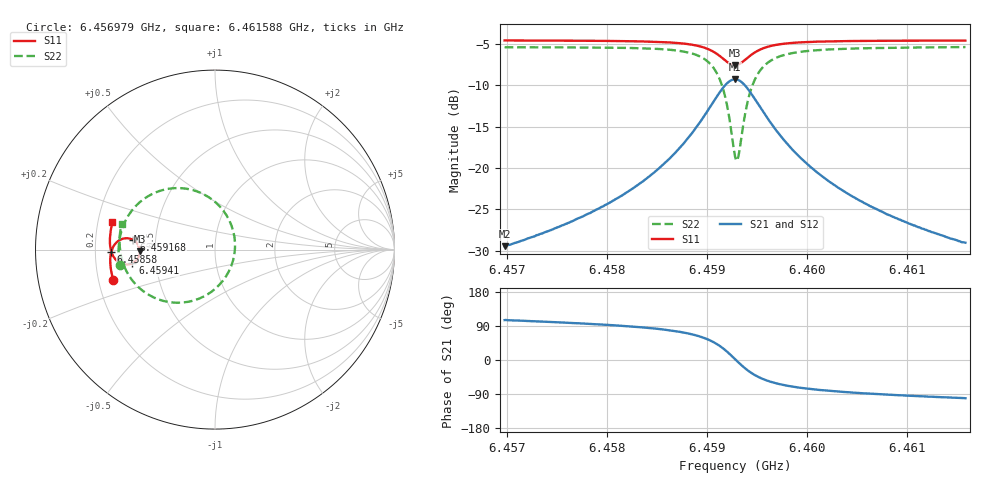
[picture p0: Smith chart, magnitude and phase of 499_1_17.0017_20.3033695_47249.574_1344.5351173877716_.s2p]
#  HZ  S  RI  R  50.00
! Rohde & Schwarz Vector Network Analyzer
! Rohde-Schwarz,ZNB20-2Port,1311601062101988,3.16
! Created: UTC 3/20/2024, 11:14:24 PM
! freq[Hz]  re:S11  im:S11  re:S21  im:S21  re:S12  im:S12  re:S22  im:S22
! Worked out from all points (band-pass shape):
!   401 points, 6.456979 GHz to 6.461588 GHz, reference 50 ohm
!   highest |S21| = -9.25 dB at 6.459283 GHz (marker M1); lowest = -29.5 dB at 6.456979 GHz (marker M2)
!   |S21| within 3 dB of the highest: 6.459053 GHz to 6.459514 GHz (461.5 kHz wide, 0.00714 % of centre)
!   lowest |S11| = -7.6 dB at 6.459283 GHz (marker M3), VSWR 2.44, Z = 20.5 - j0.481 ohm
!   |S11| at or under -10 dB: nowhere
!   |S22| runs from -19.1 to -5.4 dB; largest |S21 - S12| = 0.014
!   S11 on the Smith chart (normalised r, x): 6.456979 GHz: 0.26, -0.14; 6.45858 GHz: 0.27, -0.01; 6.459168 GHz: 0.37, +0.05; 6.45941 GHz: 0.37, -0.07; 6.461588 GHz: 0.26, +0.12
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6.4569786e9  -0.5667 -0.172  -0.00886 0.0324  -0.00725 0.0323  -0.5318 -0.0848
6.4577506e9  -0.5808 -0.1046  -0.00553 0.0503  -0.00309 0.0497  -0.5373 0.00532
6.4581654e9  -0.5837 -0.0631  0.000125 0.0689  0.00324 0.0676  -0.5296 0.0709
6.4585226e9  -0.5799 -0.0207  0.0141 0.0985  0.0181 0.0958  -0.5039 0.1505
6.4585802e9  -0.5781 -0.0127  0.0185 0.1054  0.0225 0.1023  -0.4957 0.167
6.4587877e9  -0.5651 0.0193  0.0459 0.1377  0.0501 0.1327  -0.4443 0.2397
6.4589374e9  -0.5425 0.0456  0.0911 0.1679  0.0943 0.1613  -0.3611 0.3042
6.4590757e9  -0.4988 0.063  0.1779 0.1846  0.1788 0.1772  -0.2023 0.3429
6.4591679e9  -0.4545 0.053  0.2674 0.1536  0.2678 0.1476  -0.0364 0.293
6.459214e9  -0.4334 0.0342  0.311 0.111  0.3124 0.1057  0.0465 0.217
6.4592831e9  -0.4186 -0.00967  0.3443 0.0143  0.348 0.00755  0.1115 0.0377
6.4593062e9  -0.4202 -0.0255  0.3422 -0.0206  0.3462 -0.0291  0.1075 -0.029
6.4593177e9  -0.4224 -0.0332  0.3387 -0.0379  0.3426 -0.047  0.1004 -0.0612
6.4593638e9  -0.4379 -0.0593  0.3104 -0.0976  0.3126 -0.1096  0.0432 -0.1743
6.4594099e9  -0.4598 -0.0755  0.2687 -0.1386  0.2677 -0.152  -0.0415 -0.2494
6.459502e9  -0.5031 -0.0824  0.1839 -0.17  0.1779 -0.1816  -0.2101 -0.296
6.4596518e9  -0.5469 -0.062  0.0962 -0.1564  0.0877 -0.1626  -0.3775 -0.2469
6.4598131e9  -0.5683 -0.0342  0.0513 -0.1285  0.0437 -0.1312  -0.458 -0.1751
6.4600551e9  -0.5811 0.00127  0.0222 -0.0971  0.0164 -0.0977  -0.506 -0.0925
6.4604123e9  -0.5855 0.0436  0.00606 -0.0696  0.00183 -0.0691  -0.5277 -0.0113
6.4608271e9  -0.5836 0.0851  -0.0015 -0.0517  -0.00437 -0.0508  -0.5317 0.0548
6.4615876e9  -0.5712 0.1523  -0.00667 -0.0346  -0.00826 -0.0335  -0.5204 0.1444
